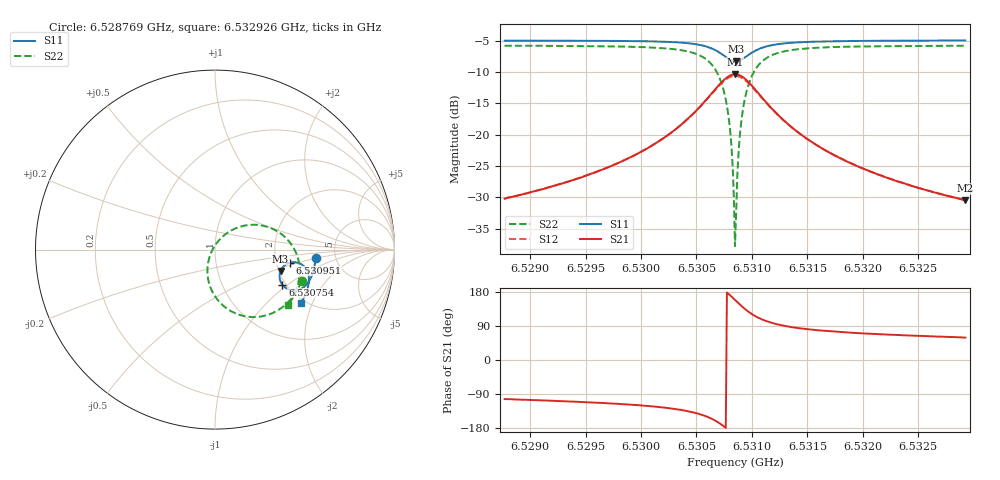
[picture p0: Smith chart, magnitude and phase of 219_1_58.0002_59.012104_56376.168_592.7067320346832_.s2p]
#  HZ  S  RI  R  50.00
! Rohde & Schwarz Vector Network Analyzer
! Rohde-Schwarz,ZNB20-2Port,1311601062101988,3.16
! Created: UTC 3/21/2024, 1:00:04 AM
! freq[Hz]  re:S11  im:S11  re:S21  im:S21  re:S12  im:S12  re:S22  im:S22
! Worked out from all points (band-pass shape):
!   401 points, 6.528769 GHz to 6.532926 GHz, reference 50 ohm
!   highest |S21| = -10.36 dB at 6.530848 GHz (marker M1); lowest = -30.5 dB at 6.532926 GHz (marker M2)
!   |S21| within 3 dB of the highest: 6.53064 GHz to 6.531057 GHz (416.3 kHz wide, 0.00637 % of centre)
!   lowest |S11| = -8.3 dB at 6.530858 GHz (marker M3), VSWR 2.25, Z = 102 - j28.5 ohm
!   |S11| at or under -10 dB: nowhere
!   |S22| runs from -37.8 to -5.8 dB; largest |S21 - S12| = 0.012
!   S11 on the Smith chart (normalised r, x): 6.528769 GHz: 3.49, -0.50; 6.530754 GHz: 1.92, -0.91; 6.530951 GHz: 2.37, -0.42; 6.532926 GHz: 1.90, -1.66
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6.528769e9  0.5603 -0.0488  -0.00695 -0.03  -0.00764 -0.0299  0.482 -0.1737
6.5294653e9  0.5512 -0.107  -0.0164 -0.0427  -0.0173 -0.0424  0.4507 -0.2374
6.5301616e9  0.5242 -0.1764  -0.0496 -0.0736  -0.0518 -0.072  0.3691 -0.3262
6.5304006e9  0.4978 -0.2068  -0.0888 -0.0928  -0.0918 -0.0897  0.2887 -0.3652
6.5305773e9  0.4546 -0.2267  -0.1565 -0.0992  -0.1589 -0.0928  0.1639 -0.3706
6.5306812e9  0.4103 -0.2222  -0.2252 -0.0732  -0.2244 -0.0637  0.0483 -0.3146
6.530754e9  0.3752 -0.1956  -0.276 -0.0155  -0.2704 -0.00552  -0.0264 -0.2079
6.5307955e9  0.3619 -0.1684  -0.2919 0.0369  -0.2831 0.0449  -0.0425 -0.1184
6.5308163e9  0.3595 -0.1521  -0.2925 0.0665  -0.2825 0.0731  -0.0377 -0.0696
6.5308267e9  0.3597 -0.1437  -0.2907 0.0817  -0.2803 0.0873  -0.0318 -0.0452
6.5308371e9  0.3605 -0.1353  -0.2871 0.0967  -0.2765 0.1014  -0.0234 -0.0213
6.5308475e9  0.3624 -0.1269  -0.2824 0.1112  -0.2716 0.1151  -0.0128 0.00161
6.5308579e9  0.3651 -0.1189  -0.276 0.1256  -0.2651 0.1283  0.000334 0.0237
6.5308683e9  0.3686 -0.1114  -0.2684 0.1389  -0.2577 0.1406  0.0153 0.044
6.5308891e9  0.378 -0.0974  -0.2497 0.1625  -0.2395 0.1627  0.0503 0.0793
6.5308995e9  0.3836 -0.0915  -0.239 0.1729  -0.2293 0.1722  0.0697 0.0939
6.5309514e9  0.4161 -0.0726  -0.1794 0.2049  -0.1725 0.2019  0.1739 0.1354
6.5310242e9  0.4588 -0.0721  -0.1048 0.2073  -0.1011 0.2042  0.299 0.1244
6.5311281e9  0.4963 -0.0938  -0.0404 0.1769  -0.0387 0.1752  0.4024 0.0571
6.5315438e9  0.5236 -0.1729  0.0152 0.0856  0.0163 0.0853  0.4724 -0.134
6.5322401e9  0.5059 -0.2445  0.0176 0.0411  0.0182 0.0407  0.4432 -0.2493
6.532926e9  0.4803 -0.2964  0.0153 0.0257  0.0158 0.0256  0.408 -0.3093
